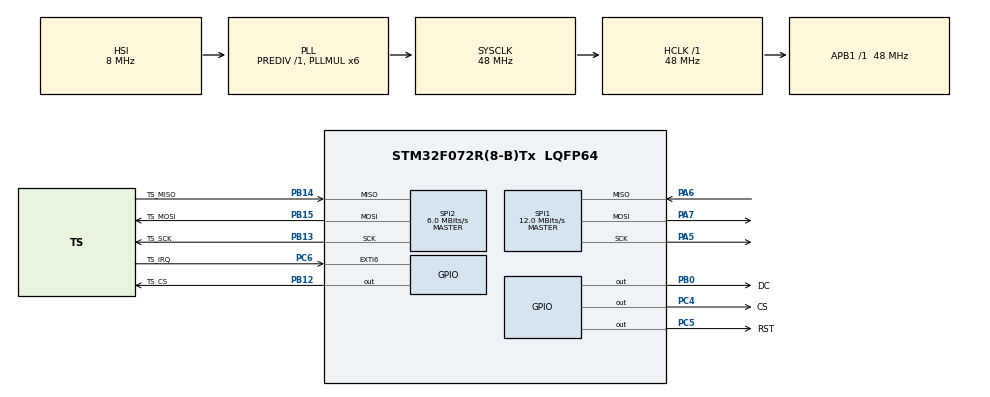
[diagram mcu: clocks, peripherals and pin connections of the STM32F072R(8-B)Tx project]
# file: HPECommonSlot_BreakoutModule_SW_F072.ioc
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Mcu.Family=STM32F0
Mcu.Name=STM32F072R(8-B)Tx
Mcu.Package=LQFP64
NVIC.EXTI4_15_IRQn=true\:0\:0\:false\:false\:true\:true\:true
NVIC.TIM17_IRQn=true\:1\:0\:true\:false\:true\:true\:true
PA13.Mode=Serial_Wire
PA13.Signal=SYS_SWDIO
PA14.Mode=Serial_Wire
PA14.Signal=SYS_SWCLK
PA5.Mode=Full_Duplex_Master
PA5.Signal=SPI1_SCK
PA6.Mode=Full_Duplex_Master
PA6.Signal=SPI1_MISO
PA7.Mode=Full_Duplex_Master
PA7.Signal=SPI1_MOSI
PB0.GPIO_Label=DC
PB0.GPIO_Speed=GPIO_SPEED_FREQ_HIGH
PB0.Signal=GPIO_Output
PB12.GPIO_Label=TS_CS
PB12.GPIO_Speed=GPIO_SPEED_FREQ_HIGH
PB12.Signal=GPIO_Output
PB13.GPIO_Label=TS_SCK
PB13.Mode=Full_Duplex_Master
PB13.Signal=SPI2_SCK
PB14.GPIO_Label=TS_MISO
PB14.Mode=Full_Duplex_Master
PB14.Signal=SPI2_MISO
PB15.GPIO_Label=TS_MOSI
PB15.Mode=Full_Duplex_Master
PB15.Signal=SPI2_MOSI
PC4.GPIO_Label=CS
PC4.GPIO_Speed=GPIO_SPEED_FREQ_HIGH
PC4.Signal=GPIO_Output
PC5.GPIO_Label=RST
PC5.GPIO_Speed=GPIO_SPEED_FREQ_HIGH
PC5.Signal=GPIO_Output
PC6.GPIO_Label=TS_IRQ
PC6.GPIO_ModeDefaultEXTI=GPIO_MODE_IT_FALLING
PC6.GPIO_PuPd=GPIO_PULLUP
PC6.Signal=GPXTI6
ProjectManager.HeapSize=0x200
ProjectManager.StackSize=0x400
ProjectManager.TargetToolchain=STM32CubeIDE
RCC.AHBFreq_Value=48000000
RCC.APB1Freq_Value=48000000
RCC.APB1TimFreq_Value=48000000
RCC.HCLKFreq_Value=48000000
RCC.PLLMUL=RCC_PLL_MUL6
RCC.SYSCLKFreq_VALUE=48000000
RCC.SYSCLKSource=RCC_SYSCLKSOURCE_PLLCLK
SPI1.BaudRatePrescaler=SPI_BAUDRATEPRESCALER_4
SPI1.CLKPolarity=SPI_POLARITY_LOW
SPI1.CalculateBaudRate=12.0 MBits/s
SPI1.DataSize=SPI_DATASIZE_8BIT
SPI1.Direction=SPI_DIRECTION_2LINES
SPI1.Mode=SPI_MODE_MASTER
SPI1.NSSPMode=SPI_NSS_PULSE_DISABLE
SPI1.VirtualType=VM_MASTER
SPI2.BaudRatePrescaler=SPI_BAUDRATEPRESCALER_8
SPI2.CalculateBaudRate=6.0 MBits/s
SPI2.DataSize=SPI_DATASIZE_8BIT
SPI2.Direction=SPI_DIRECTION_2LINES
SPI2.Mode=SPI_MODE_MASTER
SPI2.NSSPMode=SPI_NSS_PULSE_DISABLE
SPI2.VirtualType=VM_MASTER
TIM17.Period=1024
VP_TIM17_VS_ClockSourceINT.Mode=Enable_Timer
board=custom

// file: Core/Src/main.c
/* USER CODE BEGIN Header */
/**
  ******************************************************************************
  * @file           : main.c
  * @brief          : Main program body
  ******************************************************************************
  * @attention
  *
  * <h2><center>&copy; Copyright (c) 2020 STMicroelectronics.
  * All rights reserved.</center></h2>
  *
  * This software component is licensed by ST under BSD 3-Clause license,
  * the "License"; You may not use this file except in compliance with the
  * License. You may obtain a copy of the License at:
  *                        opensource.org/licenses/BSD-3-Clause
  *
  ******************************************************************************
  */
/* USER CODE END Header */

#include "main.h"
#include "spi.h"
#include "tim.h"
#include "gpio.h"

/* USER CODE BEGIN Includes */
#include "ILI9341_STM32_Driver.h"
#include "ILI9341_GFX.h"
#include "TSC2046_STM32.h"

#include <stdio.h>
/* USER CODE END Includes */

void SystemClock_Config(void);

int main(void)
{

  /* MCU Configuration--------------------------------------------------------*/

  /* Reset of all peripherals, Initializes the Flash interface and the Systick. */
  HAL_Init();

  /* Configure the system clock */
  SystemClock_Config();

  /* Initialize all configured peripherals */
  MX_GPIO_Init();
  MX_SPI1_Init();
  MX_TIM17_Init();
  MX_SPI2_Init();
  /* USER CODE BEGIN 2 */
  ILI9341_Init();
  ILI9341_Set_Rotation(SCREEN_HORIZONTAL_2);
  ILI9341_Fill_Screen(BLUE);

  TSC2046_HM_Init();
  /* USER CODE END 2 */

  /* Infinite loop */
  /* USER CODE BEGIN WHILE */
  while (1)
  {
	  //----------------------------------------------------------TOUCHSCREEN EXAMPLE

	  ILI9341_Draw_Text("TEST6", 10, 10, BLACK, 2, RED);

	  if(TSC2046_EM_GetTouchScreenState())
	  {
		  ILI9341_Draw_Text("HIT ", 100, 10, BLACK, 2, RED);
		  //uint16_t Positions[2];
		  if( TSC2046_HM_RunConversion() == TSC2046_DATAOK )
		  {
			  ILI9341_Draw_Filled_Circle(TSC4026_STM32_HM_GetXpos(), TSC4026_STM32_HM_GetYpos(), 2, WHITE);
			  char pos_string[15];
			  snprintf(pos_string, sizeof(pos_string), "Y:%u,X:%u      ", TSC4026_STM32_HM_GetXpos(), TSC4026_STM32_HM_GetYpos());
			  ILI9341_Draw_Text(pos_string, 180, 10, BLACK, 2, RED);
		  }
		  else
		  {
			  ILI9341_Draw_Text("DATAERR   ", 200, 10, BLACK, 2, RED);
		  }

	  }

	  else
	  {
		  ILI9341_Draw_Text("NONE", 100, 10, BLACK, 2, RED);
	  }

    /* USER CODE END WHILE */

  }
}

void SystemClock_Config(void)
{
  RCC_OscInitTypeDef RCC_OscInitStruct = {0};
  RCC_ClkInitTypeDef RCC_ClkInitStruct = {0};

  /** Initializes the CPU, AHB and APB busses clocks
  */
  RCC_OscInitStruct.OscillatorType = RCC_OSCILLATORTYPE_HSI;
  RCC_OscInitStruct.HSIState = RCC_HSI_ON;
  RCC_OscInitStruct.HSICalibrationValue = RCC_HSICALIBRATION_DEFAULT;
  RCC_OscInitStruct.PLL.PLLState = RCC_PLL_ON;
  RCC_OscInitStruct.PLL.PLLSource = RCC_PLLSOURCE_HSI;
  RCC_OscInitStruct.PLL.PLLMUL = RCC_PLL_MUL6;
  RCC_OscInitStruct.PLL.PREDIV = RCC_PREDIV_DIV1;
  if (HAL_RCC_OscConfig(&RCC_OscInitStruct) != HAL_OK)
  {
    Error_Handler();
  }
  /** Initializes the CPU, AHB and APB busses clocks
  */
  RCC_ClkInitStruct.ClockType = RCC_CLOCKTYPE_HCLK|RCC_CLOCKTYPE_SYSCLK
                              |RCC_CLOCKTYPE_PCLK1;
  RCC_ClkInitStruct.SYSCLKSource = RCC_SYSCLKSOURCE_PLLCLK;
  RCC_ClkInitStruct.AHBCLKDivider = RCC_SYSCLK_DIV1;
  RCC_ClkInitStruct.APB1CLKDivider = RCC_HCLK_DIV1;

  if (HAL_RCC_ClockConfig(&RCC_ClkInitStruct, FLASH_LATENCY_1) != HAL_OK)
  {
    Error_Handler();
  }
}

void Error_Handler(void)
{
}

/************************ (C) COPYRIGHT STMicroelectronics *****END OF FILE****/
